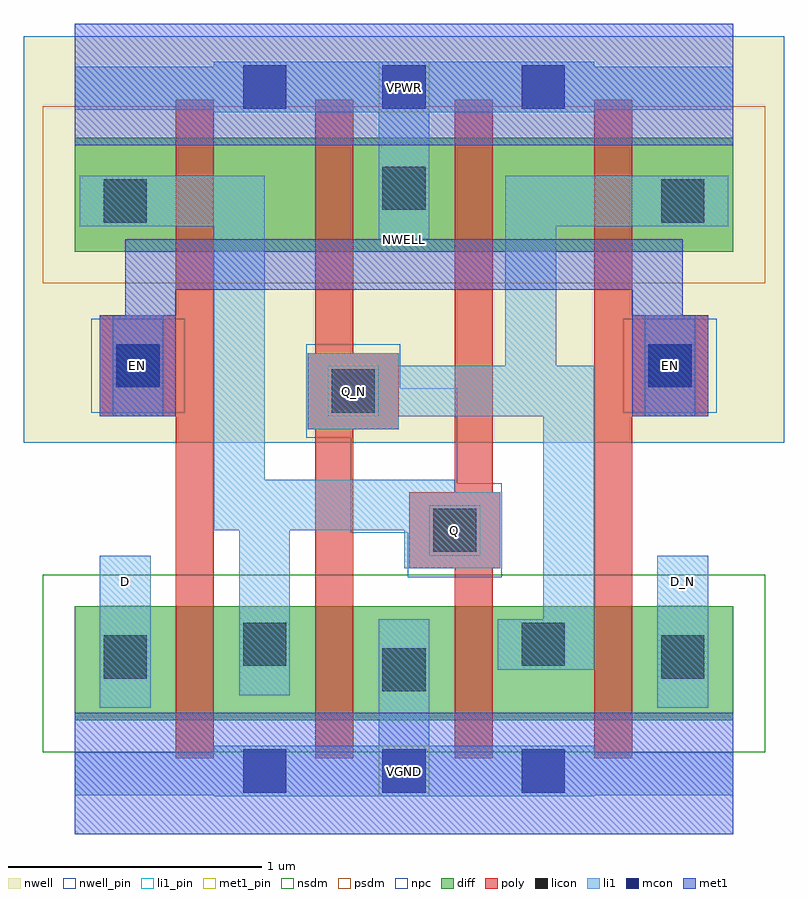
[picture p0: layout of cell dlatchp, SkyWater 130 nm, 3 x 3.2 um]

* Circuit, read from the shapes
.subckt dlatchp D D_N EN NWELL Q Q_N VGND VPWR
XM1 Q EN D VSUBS sky130_fd_pr__nfet_01v8 w=0.45 l=0.15
XM2 VGND Q_N Q VSUBS sky130_fd_pr__nfet_01v8 w=0.45 l=0.15
XM3 Q_N Q VGND VSUBS sky130_fd_pr__nfet_01v8 w=0.45 l=0.15
XM4 D_N EN Q_N VSUBS sky130_fd_pr__nfet_01v8 w=0.45 l=0.15
XM5 n1 EN Q NWELL sky130_fd_pr__pfet_01v8 w=0.45 l=0.15
XM6 VPWR Q_N n1 NWELL sky130_fd_pr__pfet_01v8 w=0.45 l=0.15
XM7 n2 Q VPWR NWELL sky130_fd_pr__pfet_01v8 w=0.45 l=0.15
XM8 Q_N EN n2 NWELL sky130_fd_pr__pfet_01v8 w=0.45 l=0.15
.ends

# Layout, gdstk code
import gdstk
lib = gdstk.Library(unit=1e-6, precision=1e-09)
def R(c, l, rs):  # rectangles x0, y0, x1, y1
    for r in rs: c.add(gdstk.rectangle(r[:2], r[2:], *l))
def A(c, l, x, y, w, h, nx, ny, dx, dy):  # array of equal rectangles
    R(c, l, [(x+i*dx, y+j*dy, x+i*dx+w, y+j*dy+h) for i in range(nx) for j in range(ny)])
nwell_pin = (64, 16)
nwell = (64, 20)
diff = (65, 20)
poly = (66, 20)
licon = (66, 44)
li1_pin = (67, 16)
li1 = (67, 20)
mcon = (67, 44)
met1_pin = (68, 16)
met1 = (68, 20)
nsdm = (93, 44)
psdm = (94, 20)
npc = (95, 20)

dlatchp = lib.new_cell('dlatchp')
R(dlatchp, nwell_pin, [(-1.5,1.545,1.5,3.15)])
R(dlatchp, nwell, [(-1.5,1.545,1.5,3.15)])
R(dlatchp, diff, [(-1.3,0.45,1.3,0.9), (-1.3,2.3,1.3,2.75)])
R(dlatchp, poly, [(-0.9,0.3,-0.75,1.65), (-0.35,0.3,-0.2,1.6), (0.2,0.3,0.35,1.05), (0.75,0.3,0.9,1.65), (0.02,1.05,0.38,1.35), (0.2,1.35,0.35,2.9), (-0.38,1.6,-0.02,1.9), (-1.2,1.65,-0.75,2.05), (0.75,1.65,1.2,2.05), (-0.35,1.9,-0.2,2.9), (-0.9,2.05,-0.75,2.9), (0.75,2.05,0.9,2.9)])
R(dlatchp, licon, [(-0.085,0.565,0.085,0.735), (-1.185,0.615,-1.015,0.785), (1.015,0.615,1.185,0.785), (-0.635,0.665,-0.465,0.835), (0.465,0.665,0.635,0.835), (0.115,1.115,0.285,1.285), (-0.285,1.665,-0.115,1.835), (-1.135,1.765,-0.965,1.935), (0.965,1.765,1.135,1.935), (-1.185,2.415,-1.015,2.585), (1.015,2.415,1.185,2.585), (-0.085,2.465,0.085,2.635)])
R(dlatchp, li1_pin, [(-1.2,0.9,-1,1.1), (1,0.9,1.2,1.1), (0.1,1.1,0.3,1.3), (-0.3,1.65,-0.1,1.85)])
R(dlatchp, li1, [(-0.75,0.15,0.75,0.155), (-1.3,0.155,1.3,0.325), (-0.75,0.325,0.75,0.35), (-0.1,0.35,0.1,0.85), (-1.2,0.5,-1,1.1), (1,0.5,1.2,1.1), (-0.65,0.55,-0.45,1.2), (0.37,0.65,0.75,0.85), (0.55,0.85,0.75,1.65), (0,1.05,0.38,1.2), (-0.75,1.2,0.38,1.35), (-0.75,1.35,0.2,1.4), (-0.75,1.4,-0.55,2.4), (-0.38,1.6,-0.02,1.65), (-1.15,1.65,-0.95,2.05), (-0.38,1.65,0.75,1.85), (0.95,1.65,1.15,2.05), (-0.38,1.85,-0.02,1.9), (0.4,1.85,0.6,2.4), (-0.1,2.35,0.1,2.85), (-1.28,2.4,-0.55,2.6), (0.4,2.4,1.28,2.6), (-0.75,2.85,0.75,2.86), (-1.3,2.86,1.3,3.03), (-0.75,3.03,0.75,3.05)])
A(dlatchp, mcon, -0.635, 0.165, 0.17, 0.17, 3, 2, 0.55, 2.7)
R(dlatchp, mcon, [(-1.135,1.765,-0.965,1.935), (0.965,1.765,1.135,1.935)])
R(dlatchp, met1_pin, [(-0.1,0.15,0.1,0.35), (-1.2,1.65,-0.9,2.05), (0.9,1.65,1.2,2.05), (-0.1,2.85,0.1,3.05)])
R(dlatchp, met1, [(-1.3,0,1.3,0.48), (-1.2,1.65,-0.9,2.05), (0.9,1.65,1.2,2.05), (-1.1,2.05,-0.9,2.15), (0.9,2.05,1.1,2.15), (-1.1,2.15,1.1,2.35), (-1.3,2.72,1.3,3.2)])
R(dlatchp, nsdm, [(-1.425,0.325,1.425,1.025)])
R(dlatchp, psdm, [(-1.425,2.175,1.425,2.875)])
R(dlatchp, npc, [(0.015,1.015,0.385,1.19), (-0.21,1.19,0.385,1.385), (-0.21,1.385,0.21,1.565), (-0.385,1.565,0.21,1.76), (-1.235,1.665,-0.865,2.035), (0.865,1.665,1.235,2.035), (-0.385,1.76,-0.015,1.935)])
dlatchp.add(gdstk.Label('EN', (1.05,1.85), layer=68, texttype=16))
dlatchp.add(gdstk.Label('EN', (-1.05,1.85), layer=68, texttype=16))
dlatchp.add(gdstk.Label('Q', (0.2,1.2), layer=67, texttype=16))
dlatchp.add(gdstk.Label('Q_N', (-0.2,1.75), layer=67, texttype=16))
dlatchp.add(gdstk.Label('D_N', (1.1,1), layer=67, texttype=16))
dlatchp.add(gdstk.Label('D', (-1.1,1), layer=67, texttype=16))
dlatchp.add(gdstk.Label('NWELL', (0,2.347), layer=64, texttype=16))
dlatchp.add(gdstk.Label('VPWR', (0,2.95), layer=68, texttype=16))
dlatchp.add(gdstk.Label('VGND', (0,0.25), layer=68, texttype=16))

lib.write_gds('dlatchp.gds')
